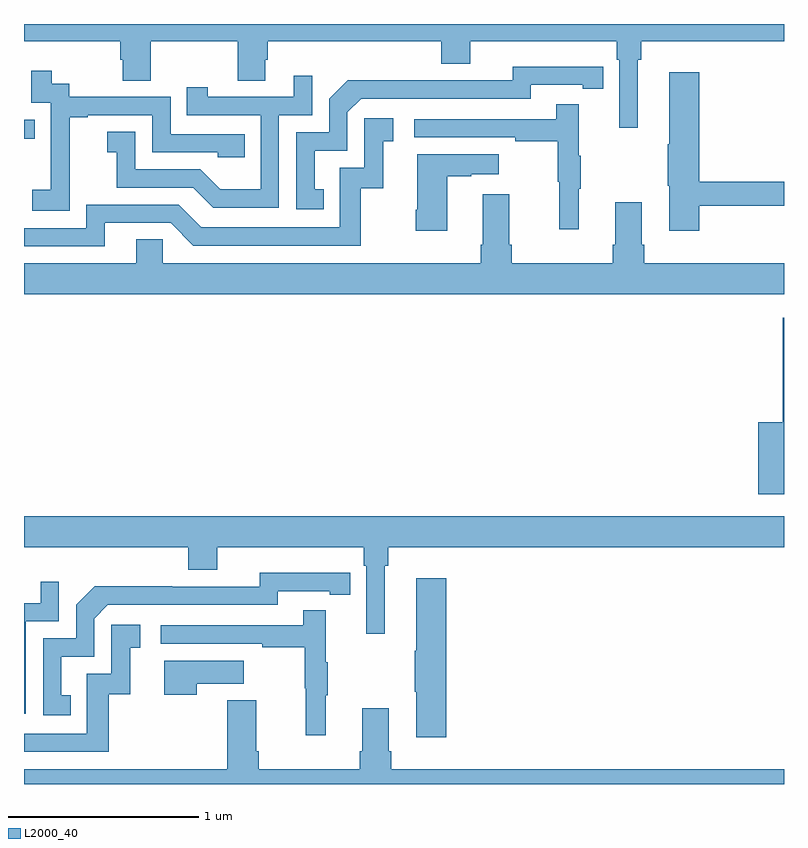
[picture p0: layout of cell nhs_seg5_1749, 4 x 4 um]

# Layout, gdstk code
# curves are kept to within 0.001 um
import gdstk
lib = gdstk.Library(unit=1e-6, precision=1e-09)
def R(c, l, rs):  # rectangles x0, y0, x1, y1
    for r in rs: c.add(gdstk.rectangle(r[:2], r[2:], *l))
def P(c, l, *ps):  # polygons
    for p in ps: c.add(gdstk.Polygon(p, *l))
L2000_40 = (2000, 40)

nhs_seg5_1749 = lib.new_cell('nhs_seg5_1749')
R(nhs_seg5_1749, L2000_40, [(215,908.194,215.057,908.295)])
P(nhs_seg5_1749, L2000_40, [(218.23,908.612),(218.249,908.612),(218.249,908.708),(219,908.708),(219,908.799),(215,908.799),(215,908.708),(215.507,908.708),(215.507,908.61),(215.519,908.61),(215.519,908.5),(215.667,908.5),(215.667,908.708),(216.124,908.708),(216.124,908.5),(216.271,908.5),(216.271,908.61),(216.284,908.61),(216.284,908.708),(217.196,908.708),(217.196,908.591),(217.348,908.591),(217.348,908.708),(218.12,908.708),(218.12,908.612),(218.133,908.612),(218.133,908.253),(218.23,908.253)],
  [(216.578,907.929),(216.529,907.929),(216.529,908.133),(216.702,908.133),(216.702,908.334),(216.774,908.406),(217.668,908.406),(217.668,908.478),(217.94,908.478),(217.94,908.458),(218.048,908.458),(218.048,908.574),(217.572,908.575),(217.572,908.502),(217.112,908.502),(217.112,908.504),(216.704,908.504),(216.606,908.406),(216.606,908.229),(216.432,908.229),(216.432,907.824),(216.578,907.824)],
  [(215.241,908.023),(215.24,908.023),(215.24,908.307),(215.335,908.307),(215.335,908.319),(215.676,908.319),(215.676,908.124),(216.021,908.124),(216.021,908.097),(216.161,908.097),(216.161,908.22),(215.772,908.22),(215.772,908.415),(215.238,908.415),(215.238,908.484),(215.146,908.484),(215.146,908.554),(215.037,908.554),(215.037,908.385),(215.142,908.385),(215.142,908.156),(215.141,908.156),(215.141,907.927),(215.043,907.927),(215.043,907.817),(215.241,907.817)],
  [(218.555,907.842),(219,907.842),(219,907.97),(218.555,907.97),(218.555,908.545),(218.396,908.545),(218.396,908.165),(218.389,908.165),(218.389,907.947),(218.396,907.947),(218.396,907.71),(218.555,907.71)],
  [(216.342,908.319),(216.516,908.319),(216.516,908.527),(216.419,908.527),(216.419,908.415),(215.968,908.415),(215.968,908.467),(215.857,908.467),(215.857,908.319),(216.246,908.319),(216.246,907.93),(216.032,907.93),(215.928,908.034),(215.586,908.034),(215.586,908.233),(215.439,908.233),(215.439,908.123),(215.488,908.123),(215.488,907.938),(215.891,907.938),(215.996,907.833),(216.342,907.833)],
  [(217.919,907.931),(217.93,907.931),(217.93,908.105),(217.919,908.105),(217.919,908.377),(217.801,908.377),(217.801,908.298),(217.053,908.298),(217.053,908.202),(217.585,908.202),(217.585,908.182),(217.809,908.182),(217.809,907.968),(217.816,907.968),(217.816,907.719),(217.919,907.719)],
  [(215.425,907.752),(215.772,907.752),(215.892,907.632),(216.772,907.632),(216.772,907.935),(216.89,907.935),(216.89,908.181),(216.943,908.181),(216.943,908.302),(216.792,908.302),(216.792,908.043),(216.663,908.043),(216.663,907.728),(215.934,907.728),(215.814,907.848),(215.328,907.848),(215.328,907.725),(215,907.725),(215,907.629),(215.425,907.629)],
  [(217.228,907.999),(217.355,907.999),(217.355,908.009),(217.498,908.009),(217.498,908.113),(217.07,908.113),(217.07,907.822),(217.063,907.822),(217.063,907.71),(217.228,907.71)],
  [(219,907.54),(218.264,907.54),(218.264,907.636),(218.251,907.636),(218.251,907.861),(218.111,907.861),(218.111,907.636),(218.099,907.636),(218.099,907.54),(217.568,907.54),(217.568,907.636),(217.555,907.636),(217.555,907.903),(217.415,907.903),(217.415,907.636),(217.403,907.636),(217.403,907.54),(215.73,907.54),(215.73,907.667),(215.591,907.667),(215.591,907.54),(215,907.54),(215,907.376),(219,907.376)],
  [(219,907.252),(218.994,907.252),(218.994,906.703),(218.864,906.703),(218.864,906.323),(219,906.323)],
  [(216.898,905.948),(216.917,905.948),(216.917,906.044),(219,906.044),(219,906.208),(215,906.208),(215,906.044),(215.864,906.044),(215.864,905.927),(216.016,905.927),(216.016,906.044),(216.788,906.044),(216.788,905.948),(216.801,905.948),(216.801,905.589),(216.898,905.589)],
  [(215.246,905.265),(215.197,905.265),(215.197,905.469),(215.37,905.469),(215.37,905.67),(215.442,905.742),(216.336,905.742),(216.336,905.814),(216.608,905.814),(216.608,905.794),(216.716,905.794),(216.716,905.91),(216.24,905.911),(216.24,905.838),(215.78,905.838),(215.78,905.84),(215.372,905.84),(215.274,905.742),(215.274,905.565),(215.1,905.565),(215.1,905.16),(215.246,905.16)],
  [(217.223,905.881),(217.064,905.881),(217.064,905.501),(217.057,905.501),(217.057,905.284),(217.064,905.284),(217.064,905.046),(217.223,905.046)],
  [(215.01,905.655),(215.184,905.655),(215.184,905.863),(215.087,905.863),(215.087,905.751),(215,905.751),(215,905.169),(215.01,905.169)],
  [(216.587,905.267),(216.598,905.267),(216.598,905.441),(216.587,905.441),(216.587,905.713),(216.469,905.713),(216.469,905.634),(215.721,905.634),(215.721,905.538),(216.253,905.538),(216.253,905.518),(216.477,905.518),(216.477,905.304),(216.484,905.304),(216.484,905.055),(216.587,905.055)],
  [(215.447,905.271),(215.558,905.271),(215.558,905.517),(215.611,905.517),(215.611,905.638),(215.46,905.638),(215.46,905.379),(215.331,905.379),(215.331,905.064),(215,905.064),(215,904.968),(215.447,904.968)],
  [(215.909,905.327),(216.157,905.327),(216.157,905.449),(215.738,905.449),(215.738,905.268),(215.909,905.268)],
  [(215,904.799),(219,904.799),(219,904.876),(216.932,904.876),(216.932,904.972),(216.919,904.972),(216.919,905.197),(216.779,905.197),(216.779,904.972),(216.767,904.972),(216.767,904.876),(216.236,904.876),(216.236,904.972),(216.223,904.972),(216.223,905.239),(216.071,905.239),(216.071,904.876),(215,904.876)])

lib.write_gds('nhs_seg5_1749.gds')
